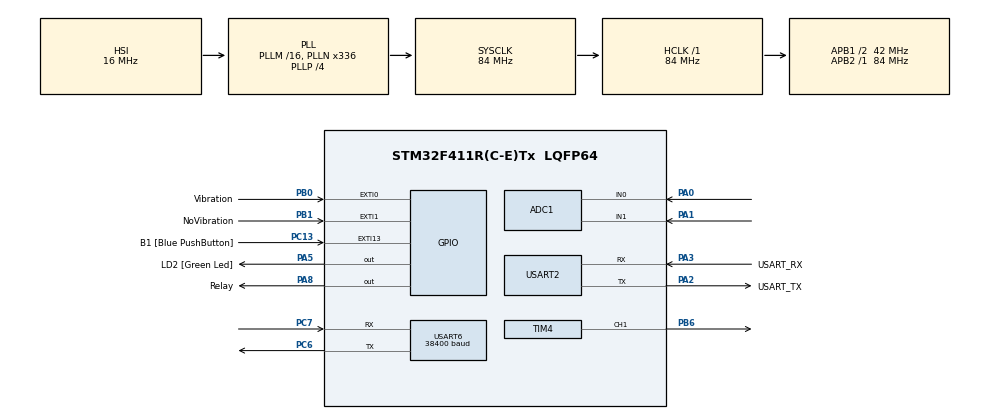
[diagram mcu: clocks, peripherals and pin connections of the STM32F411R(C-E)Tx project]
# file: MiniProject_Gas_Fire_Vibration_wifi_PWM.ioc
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ADC1.Channel-3\#ChannelRegularConversion=ADC_CHANNEL_0
ADC1.Channel-4\#ChannelRegularConversion=ADC_CHANNEL_1
ADC1.ExternalTrigConv=ADC_EXTERNALTRIGCONV_T2_TRGO
ADC1.NbrOfConversion=2
ADC1.NbrOfConversionFlag=1
ADC1.Rank-3\#ChannelRegularConversion=1
ADC1.Rank-4\#ChannelRegularConversion=2
ADC1.SamplingTime-3\#ChannelRegularConversion=ADC_SAMPLETIME_480CYCLES
ADC1.SamplingTime-4\#ChannelRegularConversion=ADC_SAMPLETIME_480CYCLES
ADC1.ScanConvMode=ENABLE
ADC1.master=1
Mcu.Family=STM32F4
Mcu.Name=STM32F411R(C-E)Tx
Mcu.Package=LQFP64
NVIC.ADC_IRQn=true\:0\:0\:false\:false\:true\:true\:true\:true
NVIC.EXTI0_IRQn=true\:0\:0\:false\:false\:true\:true\:true\:true
NVIC.EXTI1_IRQn=true\:0\:0\:false\:false\:true\:true\:true\:true
NVIC.PriorityGroup=NVIC_PRIORITYGROUP_0
NVIC.TIM2_IRQn=true\:0\:0\:false\:false\:true\:true\:true\:true
NVIC.TIM3_IRQn=true\:0\:0\:false\:false\:true\:true\:true\:true
NVIC.USART6_IRQn=true\:0\:0\:false\:false\:true\:true\:true\:true
PA0-WKUP.Signal=ADCx_IN0
PA1.Signal=ADCx_IN1
PA13.GPIO_Label=TMS
PA13.Mode=Serial_Wire
PA13.Signal=SYS_JTMS-SWDIO
PA14.GPIO_Label=TCK
PA14.Mode=Serial_Wire
PA14.Signal=SYS_JTCK-SWCLK
PA2.GPIO_Label=USART_TX
PA2.Mode=Asynchronous
PA2.Signal=USART2_TX
PA3.GPIO_Label=USART_RX
PA3.Mode=Asynchronous
PA3.Signal=USART2_RX
PA5.GPIO_Label=LD2 [Green Led]
PA5.Signal=GPIO_Output
PA8.GPIO_Label=Relay
PA8.Signal=GPIO_Output
PB0.GPIO_Label=Vibration
PB0.GPIO_PuPd=GPIO_NOPULL
PB0.Signal=GPXTI0
PB1.GPIO_Label=NoVibration
PB1.Signal=GPXTI1
PB3.GPIO_Label=SWO
PB3.Signal=SYS_JTDO-SWO
PB6.Signal=S_TIM4_CH1
PC13-ANTI_TAMP.GPIO_Label=B1 [Blue PushButton]
PC13-ANTI_TAMP.GPIO_ModeDefaultEXTI=GPIO_MODE_IT_FALLING
PC13-ANTI_TAMP.Signal=GPXTI13
PC14-OSC32_IN.Signal=RCC_OSC32_IN
PC15-OSC32_OUT.Signal=RCC_OSC32_OUT
PC6.Mode=Asynchronous
PC6.Signal=USART6_TX
PC7.Mode=Asynchronous
PC7.Signal=USART6_RX
PH0\ -\ OSC_IN.Mode=HSE-External-Oscillator
PH0\ -\ OSC_IN.Signal=RCC_OSC_IN
PH1\ -\ OSC_OUT.Mode=HSE-External-Oscillator
PH1\ -\ OSC_OUT.Signal=RCC_OSC_OUT
ProjectManager.HeapSize=0x200
ProjectManager.StackSize=0x400
ProjectManager.TargetToolchain=STM32CubeIDE
RCC.48MHZClocksFreq_Value=84000000
RCC.AHBFreq_Value=84000000
RCC.APB1CLKDivider=RCC_HCLK_DIV2
RCC.APB1Freq_Value=42000000
RCC.APB1TimFreq_Value=84000000
RCC.APB2Freq_Value=84000000
RCC.APB2TimFreq_Value=84000000
RCC.CortexFreq_Value=84000000
RCC.FLatency-AdvancedSettings=FLASH_LATENCY_2
RCC.HCLKFreq_Value=84000000
RCC.HSE_VALUE=8000000
RCC.HSI_VALUE=16000000
RCC.LSE_VALUE=32768
RCC.PLLN=336
RCC.PLLP=RCC_PLLP_DIV4
RCC.SYSCLKFreq_VALUE=84000000
RCC.SYSCLKSource=RCC_SYSCLKSOURCE_PLLCLK
RCC.VCOOutputFreq_Value=336000000
SH.ADCx_IN0.0=ADC1_IN0,IN0
SH.ADCx_IN1.0=ADC1_IN1,IN1
SH.S_TIM4_CH1.0=TIM4_CH1,PWM Generation1 CH1
TIM2.AutoReloadPreload=TIM_AUTORELOAD_PRELOAD_DISABLE
TIM2.Channel-Output\ Compare2\ No\ Output=TIM_CHANNEL_2
TIM2.Period=1000000-1
TIM2.Prescaler=84-1
TIM2.TIM_MasterOutputTrigger=TIM_TRGO_UPDATE
TIM3.AutoReloadPreload=TIM_AUTORELOAD_PRELOAD_ENABLE
TIM3.Period=1000-1
TIM3.Prescaler=84-1
TIM4.Channel-PWM\ Generation1\ CH1=TIM_CHANNEL_1
TIM4.Period=20000-1
TIM4.Prescaler=84-1
TIM4.Pulse-PWM\ Generation1\ CH1=500
USART2.VirtualMode=VM_ASYNC
USART6.BaudRate=38400
USART6.VirtualMode=VM_ASYNC
VP_TIM2_VS_ClockSourceINT.Mode=Internal
VP_TIM2_VS_no_output2.Mode=Output Compare2 No Output
VP_TIM3_VS_ClockSourceINT.Mode=Internal
VP_TIM4_VS_ClockSourceINT.Mode=Internal
board=NUCLEO-F411RE

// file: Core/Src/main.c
/* USER CODE BEGIN Header */
/**
  ******************************************************************************
  * @file           : main.c
  * @brief          : Main program body
  ******************************************************************************
  * @attention
  *
  * Copyright (c) 2025 STMicroelectronics.
  * All rights reserved.
  *
  * This software is licensed under terms that can be found in the LICENSE file
  * in the root directory of this software component.
  * If no LICENSE file comes with this software, it is provided AS-IS.
  *
  ******************************************************************************
  */
/* USER CODE END Header */
#include "main.h"

/* USER CODE BEGIN Includes */
#include <stdio.h>
#include <string.h>
#include "esp.h"
/* USER CODE END Includes */

/* USER CODE BEGIN PTD */
//ADC_HandleTypeDef hadc1;
/* USER CODE END PTD */

/* USER CODE BEGIN PD */
#define LOW 0
#define HIGH 1

#ifdef __GNUC__
/* With GCC, small printf (option LD Linker->Libraries->Small printf
   set to 'Yes') calls __io_putchar() */
#define PUTCHAR_PROTOTYPE int __io_putchar(int ch)
#else
#define PUTCHAR_PROTOTYPE int fputc(int ch, FILE *f)
#endif /* __GNUC__ */
#define ARR_CNT 5
#define CMD_SIZE 50
/* USER CODE END PD */

ADC_HandleTypeDef hadc1;

TIM_HandleTypeDef htim2;
TIM_HandleTypeDef htim3;
TIM_HandleTypeDef htim4;

UART_HandleTypeDef huart2;
UART_HandleTypeDef huart6;

/* USER CODE BEGIN PV */
uint8_t rx2char;
extern cb_data_t cb_data;
extern volatile unsigned char rx2Flag;
extern volatile char rx2Data[50];
__IO uint16_t ADC1xConvertValue[2] = {0}; //__IO = volatile
__IO int adcFlag = 0;
char msg[20];
char sendDisBuf[MAX_UART_COMMAND_LEN]={0};
volatile int officeFlag = 0;
volatile int vibrationFlag = 0;
volatile int fireFlag = 0;
volatile int disFireFlag = 1;
volatile int endDisFireFlag = 0;
volatile int disEQFlag = 1;
volatile int endDisEQFlag = 0;
volatile int tim3Flag1Sec=1;
volatile unsigned int tim3Sec = 0;
volatile unsigned int time5Sec = 0;
unsigned long debounceDelay = 100;
unsigned long lastDebounceTime = 0;

int cnt = 0;
int flag = 0;
int flag1 = 0;
int tim50ms = 0;
/* USER CODE END PV */

void SystemClock_Config(void);
static void MX_GPIO_Init(void);
static void MX_USART2_UART_Init(void);
static void MX_ADC1_Init(void);
static void MX_USART6_UART_Init(void);
static void MX_TIM3_Init(void);
static void MX_TIM2_Init(void);
static void MX_TIM4_Init(void);
/* USER CODE BEGIN PFP */
char strBuff[MAX_ESP_COMMAND_LEN];
void MX_GPIO_LED_ON(int flag);
void MX_GPIO_LED_OFF(int flag);
void esp_event(char *);
/* USER CODE END PFP */

/* USER CODE BEGIN 0 */

uint8_t convCompleted = 0;

/* USER CODE END 0 */

int main(void)
{

  /* USER CODE BEGIN 1 */
	int ret = 0;
  /* USER CODE END 1 */

  /* MCU Configuration--------------------------------------------------------*/

  /* Reset of all peripherals, Initializes the Flash interface and the Systick. */
  HAL_Init();

  /* Configure the system clock */
  SystemClock_Config();

  /* Initialize all configured peripherals */
  MX_GPIO_Init();
  MX_USART2_UART_Init();
  MX_ADC1_Init();
  MX_USART6_UART_Init();
  MX_TIM3_Init();
  MX_TIM2_Init();
  MX_TIM4_Init();
  /* USER CODE BEGIN 2 */
  printf("Start main!!!\r\n");
  lastDebounceTime = HAL_GetTick();
  HAL_TIM_Base_Start(&htim2);
  if (HAL_ADC_Start_IT(&hadc1) != HAL_OK)
  {
	  Error_Handler();
  }
  ret |= drv_uart_init();
  ret |= drv_esp_init();
  if(ret != 0)
  {
	  printf("Esp response error\r\n");
	  Error_Handler();
  }

  AiotClient_Init();
  if(HAL_TIM_Base_Start_IT(&htim3) != HAL_OK)
  {
	  Error_Handler();
  }
  if(HAL_TIM_PWM_Start(&htim4, TIM_CHANNEL_1) != HAL_OK)
  {
	  Error_Handler();
  }
  //__HAL_TIM_SetCompare(&htim4,TIM_CHANNEL_1,500);
//  HAL_GPIO_WritePin(GPIOA, Relay_Pin, GPIO_PIN_SET);
  /* USER CODE END 2 */

  /* Infinite loop */
  /* USER CODE BEGIN WHILE */
  while (1)
  {
	  if(strstr((char *)cb_data.buf,"+IPD") && cb_data.buf[cb_data.length-1] == '\n')
	  {
		  //?��?��?���??  \r\n+IPD,15:[KSH_LIN]HELLO\n
		  strcpy(strBuff,strchr((char *)cb_data.buf,'['));
		  memset(cb_data.buf,0x0,sizeof(cb_data.buf));
		  cb_data.length = 0;
		  esp_event(strBuff);
	  }
	  if(rx2Flag)
	  {
		  printf("recv2 : %s\r\n",rx2Data);
		  rx2Flag =0;
	  }

	  if(tim3Flag1Sec)	//1초에 한번
	  {
		  tim3Flag1Sec = 0;
		  if(!(tim3Sec%10)) //10초에 한번
		  {
			  if(esp_get_status() != 0)
			  {
				  printf("server connecting ...\r\n");
				  esp_client_conn();
			  }
		  }
//			printf("tim3Sec : %d\r\n",tim3Sec);
	  }

	  if (adcFlag)
	  {
		  adcFlag = 0;
		  printf("GAS : %d, FIRE: %d\r\n", ADC1xConvertValue[0], ADC1xConvertValue[1]);
		  if (ADC1xConvertValue[0] > 4000 || ADC1xConvertValue[1] > 300)
		  {
			  fireFlag = 1;
		  }
	  }

	  if (fireFlag)
	  {
		  time5Sec = 0;
		  printf("화재 발생\r\n");
		  esp_send_data("[ALLMSG]DIS@FIRE@ON\n");
		  esp_send_data("[KMW_SQL]SETDB@TOTAL@0\n");
		  __HAL_TIM_SetCompare(&htim4,TIM_CHANNEL_1,2000);
		  esp_send_data("[KMW_SQL]SETDB@GAS@OFF\n");
		  HAL_GPIO_WritePin(GPIOA, Relay_Pin, GPIO_PIN_RESET);
		  esp_send_data("[KMW_SQL]SETDB@ELEC@OFF\n");
		  disFireFlag = 0;
		  fireFlag = 0;
	  }
	  else if (!fireFlag && endDisFireFlag)
	  {
		  printf("화재 진압 완료!\r\n");
		  esp_send_data("[ALLMSG]DIS@FIRE@OFF\n");
		  endDisFireFlag = 0;
	  }

	  if (vibrationFlag)
	  {
		  if(cnt >= 5)
		  {
			  time5Sec = 0;
			  printf("지진 시작\r\n");
			  esp_send_data("[ALLMSG]DIS@EQ@ON\n");
			  esp_send_data("[KMW_SQL]SETDB@TOTAL@0\n");
			  __HAL_TIM_SetCompare(&htim4,TIM_CHANNEL_1,2000);
			  esp_send_data("[KMW_SQL]SETDB@GAS@OFF\n");
			  HAL_GPIO_WritePin(GPIOA, Relay_Pin, GPIO_PIN_RESET);
			  esp_send_data("[KMW_SQL]SETDB@ELEC@OFF\n");
			  disEQFlag = 0;
		  }
		  vibrationFlag = 0;
	  }
	  else if (!vibrationFlag && endDisEQFlag)
	  {
		  printf("지진 끝\r\n");
		  esp_send_data("[ALLMSG]DIS@EQ@OFF\n");
		  endDisEQFlag = 0;
	  }
    /* USER CODE END WHILE */

  }
}

void SystemClock_Config(void)
{
  RCC_OscInitTypeDef RCC_OscInitStruct = {0};
  RCC_ClkInitTypeDef RCC_ClkInitStruct = {0};

  /** Configure the main internal regulator output voltage
  */
  __HAL_RCC_PWR_CLK_ENABLE();
  __HAL_PWR_VOLTAGESCALING_CONFIG(PWR_REGULATOR_VOLTAGE_SCALE1);

  /** Initializes the RCC Oscillators according to the specified parameters
  * in the RCC_OscInitTypeDef structure.
  */
  RCC_OscInitStruct.OscillatorType = RCC_OSCILLATORTYPE_HSI;
  RCC_OscInitStruct.HSIState = RCC_HSI_ON;
  RCC_OscInitStruct.HSICalibrationValue = RCC_HSICALIBRATION_DEFAULT;
  RCC_OscInitStruct.PLL.PLLState = RCC_PLL_ON;
  RCC_OscInitStruct.PLL.PLLSource = RCC_PLLSOURCE_HSI;
  RCC_OscInitStruct.PLL.PLLM = 16;
  RCC_OscInitStruct.PLL.PLLN = 336;
  RCC_OscInitStruct.PLL.PLLP = RCC_PLLP_DIV4;
  RCC_OscInitStruct.PLL.PLLQ = 4;
  if (HAL_RCC_OscConfig(&RCC_OscInitStruct) != HAL_OK)
  {
    Error_Handler();
  }

  /** Initializes the CPU, AHB and APB buses clocks
  */
  RCC_ClkInitStruct.ClockType = RCC_CLOCKTYPE_HCLK|RCC_CLOCKTYPE_SYSCLK
                              |RCC_CLOCKTYPE_PCLK1|RCC_CLOCKTYPE_PCLK2;
  RCC_ClkInitStruct.SYSCLKSource = RCC_SYSCLKSOURCE_PLLCLK;
  RCC_ClkInitStruct.AHBCLKDivider = RCC_SYSCLK_DIV1;
  RCC_ClkInitStruct.APB1CLKDivider = RCC_HCLK_DIV2;
  RCC_ClkInitStruct.APB2CLKDivider = RCC_HCLK_DIV1;

  if (HAL_RCC_ClockConfig(&RCC_ClkInitStruct, FLASH_LATENCY_2) != HAL_OK)
  {
    Error_Handler();
  }
}

static void MX_ADC1_Init(void)
{

  ADC_ChannelConfTypeDef sConfig = {0};

  /** Configure the global features of the ADC (Clock, Resolution, Data Alignment and number of conversion)
  */
  hadc1.Instance = ADC1;
  hadc1.Init.ClockPrescaler = ADC_CLOCK_SYNC_PCLK_DIV4;
  hadc1.Init.Resolution = ADC_RESOLUTION_12B;
  hadc1.Init.ScanConvMode = ENABLE;
  hadc1.Init.ContinuousConvMode = DISABLE;
  hadc1.Init.DiscontinuousConvMode = DISABLE;
  hadc1.Init.ExternalTrigConvEdge = ADC_EXTERNALTRIGCONVEDGE_RISING;
  hadc1.Init.ExternalTrigConv = ADC_EXTERNALTRIGCONV_T2_TRGO;
  hadc1.Init.DataAlign = ADC_DATAALIGN_RIGHT;
  hadc1.Init.NbrOfConversion = 2;
  hadc1.Init.DMAContinuousRequests = DISABLE;
  hadc1.Init.EOCSelection = ADC_EOC_SINGLE_CONV;
  if (HAL_ADC_Init(&hadc1) != HAL_OK)
  {
    Error_Handler();
  }

  /** Configure for the selected ADC regular channel its corresponding rank in the sequencer and its sample time.
  */
  sConfig.Channel = ADC_CHANNEL_0;
  sConfig.Rank = 1;
  sConfig.SamplingTime = ADC_SAMPLETIME_480CYCLES;
  if (HAL_ADC_ConfigChannel(&hadc1, &sConfig) != HAL_OK)
  {
    Error_Handler();
  }

  /** Configure for the selected ADC regular channel its corresponding rank in the sequencer and its sample time.
  */
  sConfig.Channel = ADC_CHANNEL_1;
  sConfig.Rank = 2;
  if (HAL_ADC_ConfigChannel(&hadc1, &sConfig) != HAL_OK)
  {
    Error_Handler();
  }

}

static void MX_TIM2_Init(void)
{

  TIM_ClockConfigTypeDef sClockSourceConfig = {0};
  TIM_MasterConfigTypeDef sMasterConfig = {0};
  TIM_OC_InitTypeDef sConfigOC = {0};

  htim2.Instance = TIM2;
  htim2.Init.Prescaler = 84-1;
  htim2.Init.CounterMode = TIM_COUNTERMODE_UP;
  htim2.Init.Period = 10000000-1;
  htim2.Init.ClockDivision = TIM_CLOCKDIVISION_DIV1;
  htim2.Init.AutoReloadPreload = TIM_AUTORELOAD_PRELOAD_DISABLE;
  if (HAL_TIM_Base_Init(&htim2) != HAL_OK)
  {
    Error_Handler();
  }
  sClockSourceConfig.ClockSource = TIM_CLOCKSOURCE_INTERNAL;
  if (HAL_TIM_ConfigClockSource(&htim2, &sClockSourceConfig) != HAL_OK)
  {
    Error_Handler();
  }
  if (HAL_TIM_OC_Init(&htim2) != HAL_OK)
  {
    Error_Handler();
  }
  sMasterConfig.MasterOutputTrigger = TIM_TRGO_UPDATE;
  sMasterConfig.MasterSlaveMode = TIM_MASTERSLAVEMODE_DISABLE;
  if (HAL_TIMEx_MasterConfigSynchronization(&htim2, &sMasterConfig) != HAL_OK)
  {
    Error_Handler();
  }
  sConfigOC.OCMode = TIM_OCMODE_TIMING;
  sConfigOC.Pulse = 0;
  sConfigOC.OCPolarity = TIM_OCPOLARITY_HIGH;
  sConfigOC.OCFastMode = TIM_OCFAST_DISABLE;
  if (HAL_TIM_OC_ConfigChannel(&htim2, &sConfigOC, TIM_CHANNEL_2) != HAL_OK)
  {
    Error_Handler();
  }

}

static void MX_TIM3_Init(void)
{

  TIM_ClockConfigTypeDef sClockSourceConfig = {0};
  TIM_MasterConfigTypeDef sMasterConfig = {0};

  htim3.Instance = TIM3;
  htim3.Init.Prescaler = 84-1;
  htim3.Init.CounterMode = TIM_COUNTERMODE_UP;
  htim3.Init.Period = 1000-1;
  htim3.Init.ClockDivision = TIM_CLOCKDIVISION_DIV1;
  htim3.Init.AutoReloadPreload = TIM_AUTORELOAD_PRELOAD_ENABLE;
  if (HAL_TIM_Base_Init(&htim3) != HAL_OK)
  {
    Error_Handler();
  }
  sClockSourceConfig.ClockSource = TIM_CLOCKSOURCE_INTERNAL;
  if (HAL_TIM_ConfigClockSource(&htim3, &sClockSourceConfig) != HAL_OK)
  {
    Error_Handler();
  }
  sMasterConfig.MasterOutputTrigger = TIM_TRGO_RESET;
  sMasterConfig.MasterSlaveMode = TIM_MASTERSLAVEMODE_DISABLE;
  if (HAL_TIMEx_MasterConfigSynchronization(&htim3, &sMasterConfig) != HAL_OK)
  {
    Error_Handler();
  }

}

static void MX_TIM4_Init(void)
{

  TIM_ClockConfigTypeDef sClockSourceConfig = {0};
  TIM_MasterConfigTypeDef sMasterConfig = {0};
  TIM_OC_InitTypeDef sConfigOC = {0};

  htim4.Instance = TIM4;
  htim4.Init.Prescaler = 84-1;
  htim4.Init.CounterMode = TIM_COUNTERMODE_UP;
  htim4.Init.Period = 20000-1;
  htim4.Init.ClockDivision = TIM_CLOCKDIVISION_DIV1;
  htim4.Init.AutoReloadPreload = TIM_AUTORELOAD_PRELOAD_DISABLE;
  if (HAL_TIM_Base_Init(&htim4) != HAL_OK)
  {
    Error_Handler();
  }
  sClockSourceConfig.ClockSource = TIM_CLOCKSOURCE_INTERNAL;
  if (HAL_TIM_ConfigClockSource(&htim4, &sClockSourceConfig) != HAL_OK)
  {
    Error_Handler();
  }
  if (HAL_TIM_PWM_Init(&htim4) != HAL_OK)
  {
    Error_Handler();
  }
  sMasterConfig.MasterOutputTrigger = TIM_TRGO_RESET;
  sMasterConfig.MasterSlaveMode = TIM_MASTERSLAVEMODE_DISABLE;
  if (HAL_TIMEx_MasterConfigSynchronization(&htim4, &sMasterConfig) != HAL_OK)
  {
    Error_Handler();
  }
  sConfigOC.OCMode = TIM_OCMODE_PWM1;
  sConfigOC.Pulse = 500;
  sConfigOC.OCPolarity = TIM_OCPOLARITY_HIGH;
  sConfigOC.OCFastMode = TIM_OCFAST_DISABLE;
  if (HAL_TIM_PWM_ConfigChannel(&htim4, &sConfigOC, TIM_CHANNEL_1) != HAL_OK)
  {
    Error_Handler();
  }
  HAL_TIM_MspPostInit(&htim4);

}

static void MX_USART2_UART_Init(void)
{

  huart2.Instance = USART2;
  huart2.Init.BaudRate = 115200;
  huart2.Init.WordLength = UART_WORDLENGTH_8B;
  huart2.Init.StopBits = UART_STOPBITS_1;
  huart2.Init.Parity = UART_PARITY_NONE;
  huart2.Init.Mode = UART_MODE_TX_RX;
  huart2.Init.HwFlowCtl = UART_HWCONTROL_NONE;
  huart2.Init.OverSampling = UART_OVERSAMPLING_16;
  if (HAL_UART_Init(&huart2) != HAL_OK)
  {
    Error_Handler();
  }

}

static void MX_USART6_UART_Init(void)
{

  huart6.Instance = USART6;
  huart6.Init.BaudRate = 38400;
  huart6.Init.WordLength = UART_WORDLENGTH_8B;
  huart6.Init.StopBits = UART_STOPBITS_1;
  huart6.Init.Parity = UART_PARITY_NONE;
  huart6.Init.Mode = UART_MODE_TX_RX;
  huart6.Init.HwFlowCtl = UART_HWCONTROL_NONE;
  huart6.Init.OverSampling = UART_OVERSAMPLING_16;
  if (HAL_UART_Init(&huart6) != HAL_OK)
  {
    Error_Handler();
  }

}

static void MX_GPIO_Init(void)
{
  GPIO_InitTypeDef GPIO_InitStruct = {0};

  /* GPIO Ports Clock Enable */
  __HAL_RCC_GPIOC_CLK_ENABLE();
  __HAL_RCC_GPIOH_CLK_ENABLE();
  __HAL_RCC_GPIOA_CLK_ENABLE();
  __HAL_RCC_GPIOB_CLK_ENABLE();

  /*Configure GPIO pin Output Level */
  HAL_GPIO_WritePin(GPIOA, LD2_Pin|Relay_Pin, GPIO_PIN_RESET);

  /*Configure GPIO pin : B1_Pin */
  GPIO_InitStruct.Pin = B1_Pin;
  GPIO_InitStruct.Mode = GPIO_MODE_IT_FALLING;
  GPIO_InitStruct.Pull = GPIO_NOPULL;
  HAL_GPIO_Init(B1_GPIO_Port, &GPIO_InitStruct);

  /*Configure GPIO pins : LD2_Pin Relay_Pin */
  GPIO_InitStruct.Pin = LD2_Pin|Relay_Pin;
  GPIO_InitStruct.Mode = GPIO_MODE_OUTPUT_PP;
  GPIO_InitStruct.Pull = GPIO_NOPULL;
  GPIO_InitStruct.Speed = GPIO_SPEED_FREQ_LOW;
  HAL_GPIO_Init(GPIOA, &GPIO_InitStruct);

  /*Configure GPIO pins : Vibration_Pin NoVibration_Pin */
  GPIO_InitStruct.Pin = Vibration_Pin|NoVibration_Pin;
  GPIO_InitStruct.Mode = GPIO_MODE_IT_RISING;
  GPIO_InitStruct.Pull = GPIO_NOPULL;
  HAL_GPIO_Init(GPIOB, &GPIO_InitStruct);

  /* EXTI interrupt init*/
  HAL_NVIC_SetPriority(EXTI0_IRQn, 0, 0);
  HAL_NVIC_EnableIRQ(EXTI0_IRQn);

  HAL_NVIC_SetPriority(EXTI1_IRQn, 0, 0);
  HAL_NVIC_EnableIRQ(EXTI1_IRQn);

}

/* USER CODE BEGIN 4 */
//PUTCHAR_PROTOTYPE
//{
//  /* Place your implementation of fputc here */
//  /* e.g. write a character to the USART6 and Loop until the end of transmission */
//  HAL_UART_Transmit(&huart2, (uint8_t *)&ch, 1, 0xFFFF);
//
//  return ch;
//}

void HAL_ADC_ConvCpltCallback(ADC_HandleTypeDef *hadc)
{
	static int channel = 0;
	if (channel == 0)
	{
		ADC1xConvertValue[channel] = HAL_ADC_GetValue(hadc);
		channel = 1;
	}
	else if (channel == 1)
	{
		ADC1xConvertValue[channel] = HAL_ADC_GetValue(hadc);
		channel = 0;
		adcFlag = 1;
	}

}

void HAL_GPIO_EXTI_Callback(uint16_t GPIO_Pin){
	if (GPIO_Pin == Vibration_Pin)
	{
		printf("vib\r\n");
		vibrationFlag = 1;
		cnt++;
	}
}
void MX_GPIO_LED_ON(int pin)
{
	HAL_GPIO_WritePin(LD2_GPIO_Port, pin, GPIO_PIN_SET);
}
void MX_GPIO_LED_OFF(int pin)
{
	HAL_GPIO_WritePin(LD2_GPIO_Port, pin, GPIO_PIN_RESET);
}
void esp_event(char * recvBuf)
{
  int i=0;
  char * pToken;
  char * pArray[ARR_CNT]={0};
  char sendBuf[MAX_UART_COMMAND_LEN]={0};

  strBuff[strlen(recvBuf)-1] = '\0';	//'\n' cut
  printf("\r\nDebug recv : %s\r\n",recvBuf);

  pToken = strtok(recvBuf,"[@]");
  while(pToken != NULL)
  {
    pArray[i] = pToken;
    if(++i >= ARR_CNT)
      break;
    pToken = strtok(NULL,"[@]");
  }

  if(!strcmp(pArray[1],"LED"))
  {
  	if(!strcmp(pArray[2],"ON"))
  	{
  		MX_GPIO_LED_ON(LD2_Pin);
  	}
	else if(!strcmp(pArray[2],"OFF"))
	{
		MX_GPIO_LED_OFF(LD2_Pin);
	}
	sprintf(sendBuf,"[%s]%s@%s\n",pArray[0],pArray[1],pArray[2]);
  }
  else if(!strcmp(pArray[1],"ELEC") && officeFlag == 1)
  {
  	if(!strcmp(pArray[2],"ON"))
  	{
  		HAL_GPIO_WritePin(GPIOA, Relay_Pin, GPIO_PIN_SET);
		sprintf(sendBuf,"[KMW_SQL]SETDB@ELEC@ON\n");
		esp_send_data(sendBuf);
		sprintf(sendBuf,"[%s]%s@%s\n", pArray[0], pArray[1], pArray[2]);
  	}
	else if(!strcmp(pArray[2],"OFF"))
	{
		HAL_GPIO_WritePin(GPIOA, Relay_Pin, GPIO_PIN_RESET);
		sprintf(sendBuf,"[KMW_SQL]SETDB@ELEC@OFF\n");
		esp_send_data(sendBuf);
		sprintf(sendBuf,"[%s]%s@%s\n", pArray[0], pArray[1], pArray[2]);
	}
  }
  else if(!strcmp(pArray[1],"GAS") && officeFlag == 1)
  {
	  if(!strcmp(pArray[2],"ON"))
	  {
		  __HAL_TIM_SetCompare(&htim4,TIM_CHANNEL_1,500);
		  sprintf(sendBuf,"[KMW_SQL]SETDB@GAS@ON\n");
		  esp_send_data(sendBuf);
		  sprintf(sendBuf,"[%s]%s@%s\n", pArray[0], pArray[1], pArray[2]);
	  }
	  else if(!strcmp(pArray[2],"OFF"))
	  {
		  __HAL_TIM_SetCompare(&htim4,TIM_CHANNEL_1,2000);
		  sprintf(sendBuf,"[KMW_SQL]SETDB@GAS@OFF\n");
		  esp_send_data(sendBuf);
		  sprintf(sendBuf,"[%s]%s@%s\n", pArray[0], pArray[1], pArray[2]);
  	}
  }
  else if(!strcmp(pArray[1],"OFFI"))
  {
	  if(!strcmp(pArray[2],"ON"))
	  {
		  officeFlag = 1;
	  }
	  else if(!strcmp(pArray[2],"OFF"))
	  {
		  officeFlag = 0;
		  __HAL_TIM_SetCompare(&htim4,TIM_CHANNEL_1,2000);
		  esp_send_data("[KMW_SQL]SETDB@GAS@OFF\n");
		  HAL_GPIO_WritePin(GPIOA, Relay_Pin, GPIO_PIN_RESET);
		  esp_send_data("[KMW_SQL]SETDB@ELEC@OFF\n");
	  }
  }
  else if(!strncmp(pArray[1]," New conn",8))
  {
     return;
  }
  else if(!strncmp(pArray[1]," Already log",8))
  {
	  esp_client_conn();
      return;
  }
  else
      return;

  esp_send_data(sendBuf);
  printf("Debug send : %s\r\n",sendBuf);
}

void HAL_TIM_PeriodElapsedCallback(TIM_HandleTypeDef *htim)		//1ms 마다 호출
{
	static int tim3Cnt = 0;
	tim3Cnt++;
	if(tim3Cnt >= 1000) //1ms * 1000 = 1Sec
	{
		tim3Flag1Sec = 1;
		tim3Sec++;
		time5Sec++;
		tim3Cnt = 0;
		cnt = 0;
	}

	if (time5Sec == 5)
	{
		if(!disFireFlag)
		{
			endDisFireFlag = 1;
		}
		disFireFlag = 1;

		if(!disEQFlag)
		{
			endDisEQFlag = 1;
		}
		disEQFlag = 1;
	}

}
/* USER CODE END 4 */

void Error_Handler(void)
{
  __disable_irq();
  while (1)
  {
  }
}
